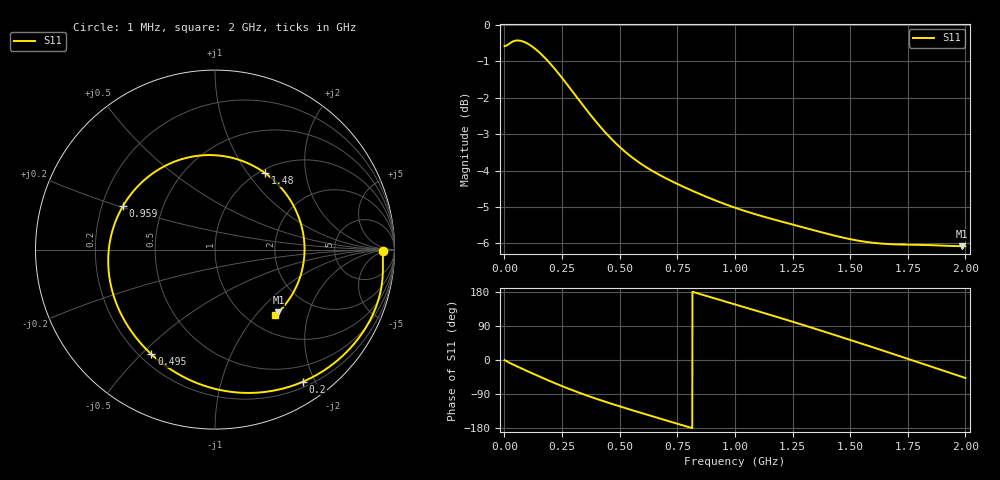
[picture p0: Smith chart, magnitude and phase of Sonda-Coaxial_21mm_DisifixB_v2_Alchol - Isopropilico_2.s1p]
! TOUCHSTONE file generated by CST MICROWAVE STUDIO
! Date and time: Sun Aug  2 11:31:13 2026
! Project name: Sonda-Coaxial_21mm_DisifixB_v2_Alchol - Isopropilico.cst
! Parameters = {h_recipiente=20; l_conector=50; r_arandela=35; r_ext=10.5; r_int=3; r_recipiente=100; z_recipiente=-30}
! Header version: 2018
! Port assignment regex: !\s*Touchstone port\s*([0-9]+)\s*=\s*(CST MWS port|CST DS port)\s*([0-9]+|Zmin|Zmax)\s*\(\"(.*)\"\)(\s*mode\s*([0-9]+))?.*
! Touchstone port assignment:
! Touchstone port 1 = CST MWS port 1 ("")
# GHz S RI R 50
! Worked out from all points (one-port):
!   2000 points, 1 MHz to 2 GHz, reference 50 ohm
!   lowest |S11| = -6.1 dB at 1.986 GHz (marker M1), VSWR 2.97, Z = 69.8 - j64.6 ohm
!   |S11| at or under -10 dB: nowhere
!   S11 on the Smith chart (normalised r, x): 1 MHz: 30, -3; 200 MHz: 0.27, -1.84; 495 MHz: 0.25, -0.54; 959 MHz: 0.29, +0.21; 1.48 GHz: 1.05, +1.21; 2 GHz: 1.31, -1.27
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0.001  0.9357 -0.00565
0.044  0.9238 -0.2271
0.086  0.8552 -0.4091
0.144  0.6906 -0.6104
0.2  0.491 -0.7356
0.251  0.3015 -0.7898
0.307  0.1064 -0.7944
0.372  -0.088 -0.7485
0.432  -0.2335 -0.6761
0.495  -0.3547 -0.5829
0.501  -0.3647 -0.5734
0.563  -0.4552 -0.4704
0.626  -0.5238 -0.3584
0.689  -0.5696 -0.2409
0.751  -0.5921 -0.1227
0.852  -0.5813 0.066
0.959  -0.5113 0.2454
1.001  -0.4695 0.3069
1.131  -0.2988 0.4553
1.251  -0.1011 0.5221
1.363  0.0939 0.5118
1.48  0.2781 0.4268
1.501  0.307 0.4045
1.632  0.4466 0.2268
1.751  0.4984 0.0251
1.863  0.4681 -0.1704
1.986  0.3534 -0.349
2  0.3364 -0.3655
